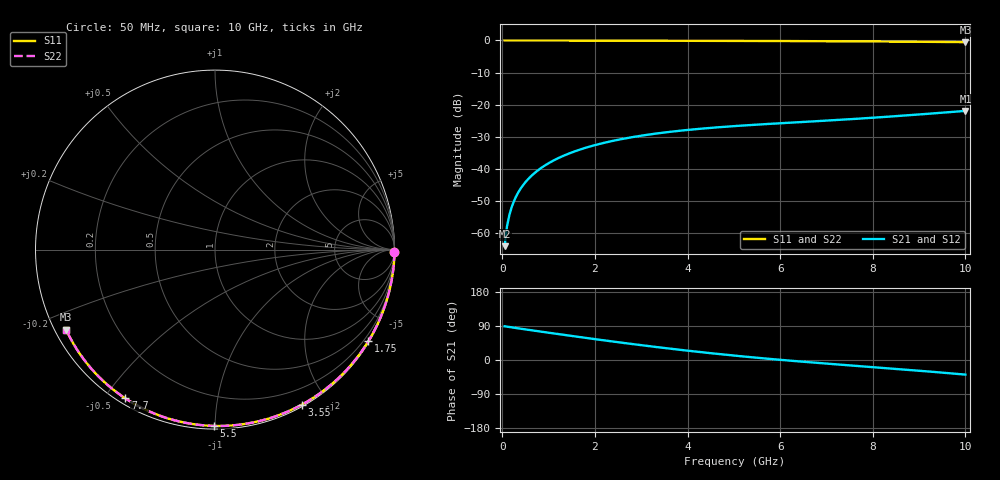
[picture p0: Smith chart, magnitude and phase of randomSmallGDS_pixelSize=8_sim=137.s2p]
! freq	dB(S11)	phase(S11)	dB(S12)	phase(S12)
!  dB(S21)	phase(S21)	dB(S22)	phase(S22)
!S-par simulation data
#  GHz  S  DB  R 50
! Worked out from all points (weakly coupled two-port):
!   200 points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, 50 MHz to 10 GHz, reference 50 ohm
!   highest |S21| = -21.89 dB at 10 GHz (marker M1); lowest = -63.9 dB at 50 MHz (marker M2)
!   lowest |S11| = -0.5 dB at 10 GHz (marker M3), VSWR 33.37, Z = 1.59 - j12.6 ohm
!   |S11| at or under -10 dB: nowhere
!   |S22| runs from -0.5 to 0.0 dB; largest |S21 - S12| = 0
!   S11 on the Smith chart (normalised r, x): 50 MHz: open; 1.75 GHz: 0.03, -3.63; 3.55 GHz: 0.02, -1.71; 5.5 GHz: 0.02, -0.99; 7.7 GHz: 0.02, -0.56; 10 GHz: 0.03, -0.25
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0.05  -0.00 -0.9  -63.94 89.0  -63.94 89.0  -0.00 -0.9
0.1  -0.00 -1.8  -57.92 88.1  -57.92 88.1  -0.00 -1.8
0.15  -0.00 -2.7  -54.41 87.1  -54.41 87.1  -0.00 -2.7
0.2  -0.00 -3.6  -51.92 86.2  -51.92 86.2  -0.00 -3.6
0.25  -0.00 -4.5  -49.99 85.2  -49.99 85.2  -0.00 -4.5
0.35  -0.00 -6.3  -47.10 83.4  -47.10 83.4  -0.00 -6.3
0.5  -0.01 -8.9  -44.04 80.7  -44.04 80.7  -0.01 -8.9
0.7  -0.01 -12.5  -41.17 77.2  -41.17 77.2  -0.01 -12.5
1  -0.02 -17.8  -38.16 72.0  -38.16 72.0  -0.02 -17.8
1.35  -0.03 -23.9  -35.67 66.0  -35.67 66.0  -0.03 -23.9
1.75  -0.04 -30.8  -33.58 59.2  -33.58 59.2  -0.04 -30.8
2.5  -0.06 -43.5  -30.87 46.9  -30.87 46.9  -0.06 -43.5
3.4  -0.08 -58.3  -28.79 33.1  -28.79 33.1  -0.08 -58.3
3.55  -0.09 -60.7  -28.52 31.0  -28.52 31.0  -0.09 -60.7
4.3  -0.11 -72.5  -27.41 20.6  -27.41 20.6  -0.11 -72.5
5.05  -0.14 -83.8  -26.58 11.1  -26.58 11.1  -0.14 -83.8
5.5  -0.15 -90.5  -26.16 5.9  -26.16 5.9  -0.15 -90.4
6.7  -0.22 -107.5  -25.16 -6.6  -25.16 -6.6  -0.22 -107.5
7.7  -0.29 -121.1  -24.30 -16.0  -24.30 -16.0  -0.29 -121.1
8.35  -0.34 -129.8  -23.68 -22.0  -23.68 -22.0  -0.34 -129.8
9.2  -0.43 -141.1  -22.79 -30.3  -22.79 -30.3  -0.43 -141.0
10  -0.52 -151.7  -21.89 -38.5  -21.89 -38.5  -0.52 -151.7
